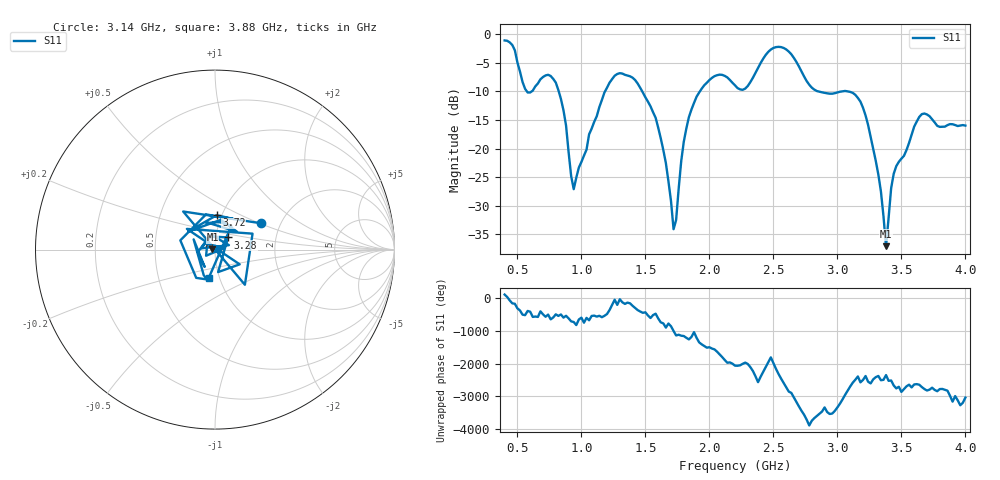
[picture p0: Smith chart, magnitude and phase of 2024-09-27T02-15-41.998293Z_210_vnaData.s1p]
!Created with skrf (http://scikit-rf.org).
# Hz S RI R 50.0
!freq ReS11 ImS11
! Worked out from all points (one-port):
!   181 points, 400 MHz to 4 GHz, reference 50 ohm
!   lowest |S11| = -37.0 dB at 3.38 GHz (marker M1), VSWR 1.03, Z = 48.6 + j0.181 ohm
!   |S11| at or under -10 dB: 822.7 MHz to 1.185 GHz (362.3 MHz wide, 36.1 % of centre); 1.475 GHz to 1.926 GHz (451.5 MHz wide, 26.6 % of centre); 3.077 GHz to end of sweep (the widest 3 of 5)
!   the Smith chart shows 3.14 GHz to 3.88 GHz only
!   S11 on the Smith chart (normalised r, x): 3.14 GHz: 1.59, +0.51; 3.28 GHz: 1.15, +0.16; 3.72 GHz: 0.95, +0.38; 3.88 GHz: 0.89, -0.29
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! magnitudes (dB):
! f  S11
! 400 MHz  -1.1
! 580 MHz  -10.2
! 760 MHz  -7.3
! 860 MHz  -13.3
! 940 MHz  -27.1
! 1.18 GHz  -10.2
! 1.3 GHz  -6.8
! 1.58 GHz  -14.6
! 1.66 GHz  -22.5
! 1.72 GHz  -34.1
! 1.76 GHz  -27.0
! 1.82 GHz  -16.5
! 1.9 GHz  -10.9
! 2.06 GHz  -7.2
! 2.2 GHz  -9.0
! 2.5 GHz  -2.4
! 2.66 GHz  -4.2
! 2.82 GHz  -9.7
! 3.1 GHz  -10.1
! 3.14 GHz  -10.6
! 3.28 GHz  -20.1
! 3.34 GHz  -27.5
! 3.38 GHz  -37.0
! 3.44 GHz  -24.4
! 3.56 GHz  -19.0
! 3.72 GHz  -14.3
! 3.88 GHz  -15.7
! 4 GHz  -16.0
